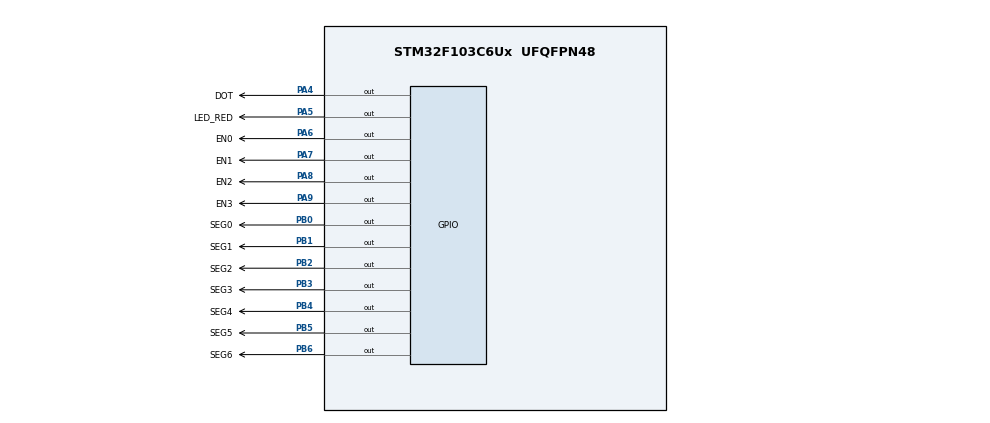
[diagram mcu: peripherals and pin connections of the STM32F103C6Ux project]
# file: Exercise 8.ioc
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Mcu.Family=STM32F1
Mcu.Name=STM32F103C6Ux
Mcu.Package=UFQFPN48
NVIC.PriorityGroup=NVIC_PRIORITYGROUP_4
NVIC.TIM2_IRQn=true\:0\:0\:false\:false\:true\:true\:true
PA4.GPIO_Label=DOT
PA4.Signal=GPIO_Output
PA5.GPIO_Label=LED_RED
PA5.Signal=GPIO_Output
PA6.GPIO_Label=EN0
PA6.Signal=GPIO_Output
PA7.GPIO_Label=EN1
PA7.Signal=GPIO_Output
PA8.GPIO_Label=EN2
PA8.Signal=GPIO_Output
PA9.GPIO_Label=EN3
PA9.Signal=GPIO_Output
PB0.GPIO_Label=SEG0
PB0.Signal=GPIO_Output
PB1.GPIO_Label=SEG1
PB1.Signal=GPIO_Output
PB2.GPIO_Label=SEG2
PB2.Signal=GPIO_Output
PB3.GPIO_Label=SEG3
PB3.Signal=GPIO_Output
PB4.GPIO_Label=SEG4
PB4.Signal=GPIO_Output
PB5.GPIO_Label=SEG5
PB5.Signal=GPIO_Output
PB6.GPIO_Label=SEG6
PB6.Signal=GPIO_Output
ProjectManager.HeapSize=0x200
ProjectManager.StackSize=0x400
ProjectManager.TargetToolchain=STM32CubeIDE
RCC.APB1Freq_Value=8000000
RCC.APB2Freq_Value=8000000
TIM2.Period=9
TIM2.Prescaler=7999
VP_SYS_VS_ND.Mode=No_Debug
VP_TIM2_VS_ClockSourceINT.Mode=Internal
board=custom

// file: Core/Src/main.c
/* USER CODE BEGIN Header */
/**
  ******************************************************************************
  * @file           : main.c
  * @brief          : Main program body
  ******************************************************************************
  * @attention
  *
  * <h2><center>&copy; Copyright (c) 2022 STMicroelectronics.
  * All rights reserved.</center></h2>
  *
  * This software component is licensed by ST under BSD 3-Clause license,
  * the "License"; You may not use this file except in compliance with the
  * License. You may obtain a copy of the License at:
  *                        opensource.org/licenses/BSD-3-Clause
  *
  ******************************************************************************
  */
/* USER CODE END Header */
#include "main.h"

TIM_HandleTypeDef htim2;

void SystemClock_Config(void);
static void MX_GPIO_Init(void);
static void MX_TIM2_Init(void);

/* USER CODE BEGIN 0 */

//software timer
int timer0_counter = 0;
int timer0_flag = 0;

int timer1_counter = 0;
int timer1_flag = 0;
int TIMER_CYCLE = 10;

void setTimer0(int duration){
	timer0_counter = duration / TIMER_CYCLE;
	timer0_flag = 0;
}

void setTimer1(int duration){
	timer1_counter = duration / TIMER_CYCLE;
	timer1_flag = 0;
}

void timer_run(){
	if(timer0_counter > 0){
		timer0_counter--;
		if(timer0_counter == 0) timer0_flag = 1;
	}

	if(timer1_counter > 0){
			timer1_counter--;
			if(timer1_counter == 0) timer1_flag = 1;
	}
}

//display7SEG function
void display7SEG(int num)
{
	if (num == 0)
	{
		HAL_GPIO_WritePin (GPIOB, SEG0_Pin|SEG1_Pin|SEG2_Pin|SEG3_Pin|SEG4_Pin|SEG5_Pin, GPIO_PIN_RESET);
		HAL_GPIO_WritePin (GPIOB, SEG6_Pin, GPIO_PIN_SET);
	}
	else if (num == 1)
	{
		HAL_GPIO_WritePin (GPIOB, SEG1_Pin|SEG2_Pin, GPIO_PIN_RESET);
		HAL_GPIO_WritePin (GPIOB, SEG0_Pin|SEG3_Pin|SEG4_Pin|SEG5_Pin|SEG6_Pin, GPIO_PIN_SET);
	}
	else if (num == 2)
	{
		HAL_GPIO_WritePin (GPIOB, SEG0_Pin|SEG1_Pin|SEG3_Pin|SEG4_Pin|SEG6_Pin, GPIO_PIN_RESET);
		HAL_GPIO_WritePin (GPIOB, SEG2_Pin|SEG5_Pin, GPIO_PIN_SET);
	}
	else if (num == 3)
	{
		HAL_GPIO_WritePin (GPIOB, SEG0_Pin|SEG1_Pin|SEG2_Pin|SEG3_Pin|SEG6_Pin, GPIO_PIN_RESET);
		HAL_GPIO_WritePin (GPIOB, SEG4_Pin|SEG5_Pin, GPIO_PIN_SET);
	}
	else if (num == 4)
	{
		HAL_GPIO_WritePin (GPIOB, SEG1_Pin|SEG2_Pin|SEG5_Pin|SEG6_Pin, GPIO_PIN_RESET);
		HAL_GPIO_WritePin (GPIOB, SEG0_Pin|SEG3_Pin|SEG4_Pin, GPIO_PIN_SET);
	}
	else if (num == 5)
	{
		HAL_GPIO_WritePin (GPIOB, SEG0_Pin|SEG2_Pin|SEG3_Pin|SEG5_Pin|SEG6_Pin, GPIO_PIN_RESET);
		HAL_GPIO_WritePin (GPIOB, SEG1_Pin|SEG4_Pin, GPIO_PIN_SET);
	}
	else if (num == 6)
	{
		HAL_GPIO_WritePin (GPIOB, SEG0_Pin|SEG2_Pin|SEG3_Pin|SEG4_Pin|SEG5_Pin|SEG6_Pin, GPIO_PIN_RESET);
		HAL_GPIO_WritePin (GPIOB, SEG1_Pin, GPIO_PIN_SET);
	}
	else if (num == 7)
	{
		HAL_GPIO_WritePin (GPIOB, SEG0_Pin|SEG1_Pin|SEG2_Pin, GPIO_PIN_RESET);
		HAL_GPIO_WritePin (GPIOB, SEG3_Pin|SEG4_Pin|SEG5_Pin|SEG6_Pin, GPIO_PIN_SET);
	}
	else if (num == 8)
	{
		HAL_GPIO_WritePin (GPIOB, SEG0_Pin|SEG1_Pin|SEG2_Pin|SEG3_Pin|SEG4_Pin|SEG5_Pin|SEG6_Pin, GPIO_PIN_RESET);
	}
	else
	{
		HAL_GPIO_WritePin (GPIOB, SEG0_Pin|SEG1_Pin|SEG2_Pin|SEG3_Pin|SEG5_Pin|SEG6_Pin, GPIO_PIN_RESET);
		HAL_GPIO_WritePin (GPIOB, SEG4_Pin, GPIO_PIN_SET);
	}
}

const int MAX_LED = 4;
int index_led = 0;
int led_buffer[4] = {1, 2, 3, 4};

void update7SEG(int index){
	switch (index){
	case 0:
		//Display the first 7SEG with led_buffer[0]
		display7SEG(led_buffer[index]);
		HAL_GPIO_WritePin(EN0_GPIO_Port, EN0_Pin, RESET);
		HAL_GPIO_WritePin(EN1_GPIO_Port, EN1_Pin, SET);
		HAL_GPIO_WritePin(EN1_GPIO_Port, EN2_Pin, SET);
		HAL_GPIO_WritePin(EN1_GPIO_Port, EN3_Pin, SET);
		index_led = 1;
		break;

	case 1:
		//Display the first 7SEG with led_buffer[1]
		display7SEG(led_buffer[index]);
		HAL_GPIO_WritePin(EN0_GPIO_Port, EN0_Pin, SET);
		HAL_GPIO_WritePin(EN1_GPIO_Port, EN1_Pin, RESET);
		HAL_GPIO_WritePin(EN1_GPIO_Port, EN2_Pin, SET);
		HAL_GPIO_WritePin(EN1_GPIO_Port, EN3_Pin, SET);
		index_led = 2;
		break;

	case 2:
		//Display the first 7SEG with led_buffer[2]
		display7SEG(led_buffer[index]);
		HAL_GPIO_WritePin(EN0_GPIO_Port, EN0_Pin, SET);
		HAL_GPIO_WritePin(EN1_GPIO_Port, EN1_Pin, SET);
		HAL_GPIO_WritePin(EN1_GPIO_Port, EN2_Pin, RESET);
		HAL_GPIO_WritePin(EN1_GPIO_Port, EN3_Pin, SET);
		index_led = 3;
		break;

	case 3:
		//Display the first 7SEG with led_buffer[3]
		display7SEG(led_buffer[index]);
		HAL_GPIO_WritePin(EN0_GPIO_Port, EN0_Pin, SET);
		HAL_GPIO_WritePin(EN1_GPIO_Port, EN1_Pin, SET);
		HAL_GPIO_WritePin(EN1_GPIO_Port, EN2_Pin, SET);
		HAL_GPIO_WritePin(EN1_GPIO_Port, EN3_Pin, RESET);
		index_led = 0;
		break;

	default:
		break;
	}
}

//updateClockBuffer function
int hour = 15, minute = 8, second = 50;
void updateClockBuffer(){

	//Hiển thị hàng đơn vị của giờ
	led_buffer[1] = hour % 10;

	//Hiển thị hàng chục của giờ
	if (hour < 10){
		led_buffer[0] = 0;
	}
	else {
		led_buffer[0] = hour / 10;
	}

	//Hiển thị hàng đơn vị của phút
	led_buffer[3] = minute % 10;

	//Hiển thị hàng chục của phút
	if (minute < 10){
		led_buffer[2] = 0;
	}
	else{
		led_buffer[2] = minute / 10;
	}
}

/* USER CODE END 0 */

int main(void)
{

  /* MCU Configuration--------------------------------------------------------*/

  /* Reset of all peripherals, Initializes the Flash interface and the Systick. */
  HAL_Init();

  /* Configure the system clock */
  SystemClock_Config();

  /* Initialize all configured peripherals */
  MX_GPIO_Init();
  MX_TIM2_Init();
  /* USER CODE BEGIN 2 */
  HAL_TIM_Base_Start_IT(&htim2);
  setTimer0(1000);
  setTimer1(500);
  /* USER CODE END 2 */

  /* Infinite loop */
  /* USER CODE BEGIN WHILE */
  while (1)
  {
	  if(timer0_flag == 1){
		  second++;

		  if (second >= 60) // 1 minute = 60s
		  {
		  	  second = 0;
		  	  minute++;

		  	  if (minute >= 60) // 1 hour = 60p
		  	  {
		  		  minute = 0;
		  		  hour++;
		  		  if (hour >= 12) {hour = 0;}//start new a cycle
		  	  }
		  }

		  updateClockBuffer();
		  HAL_GPIO_TogglePin(DOT_GPIO_Port, DOT_Pin);
		  setTimer0(1000);

	  }

	  if(timer1_flag == 1){
	  	update7SEG(index_led);
	  	setTimer1(500);
	  }
    /* USER CODE END WHILE */

  }
}

void SystemClock_Config(void)
{
  RCC_OscInitTypeDef RCC_OscInitStruct = {0};
  RCC_ClkInitTypeDef RCC_ClkInitStruct = {0};

  /** Initializes the RCC Oscillators according to the specified parameters
  * in the RCC_OscInitTypeDef structure.
  */
  RCC_OscInitStruct.OscillatorType = RCC_OSCILLATORTYPE_HSI;
  RCC_OscInitStruct.HSIState = RCC_HSI_ON;
  RCC_OscInitStruct.HSICalibrationValue = RCC_HSICALIBRATION_DEFAULT;
  RCC_OscInitStruct.PLL.PLLState = RCC_PLL_NONE;
  if (HAL_RCC_OscConfig(&RCC_OscInitStruct) != HAL_OK)
  {
    Error_Handler();
  }
  /** Initializes the CPU, AHB and APB buses clocks
  */
  RCC_ClkInitStruct.ClockType = RCC_CLOCKTYPE_HCLK|RCC_CLOCKTYPE_SYSCLK
                              |RCC_CLOCKTYPE_PCLK1|RCC_CLOCKTYPE_PCLK2;
  RCC_ClkInitStruct.SYSCLKSource = RCC_SYSCLKSOURCE_HSI;
  RCC_ClkInitStruct.AHBCLKDivider = RCC_SYSCLK_DIV1;
  RCC_ClkInitStruct.APB1CLKDivider = RCC_HCLK_DIV1;
  RCC_ClkInitStruct.APB2CLKDivider = RCC_HCLK_DIV1;

  if (HAL_RCC_ClockConfig(&RCC_ClkInitStruct, FLASH_LATENCY_0) != HAL_OK)
  {
    Error_Handler();
  }
}

static void MX_TIM2_Init(void)
{

  TIM_ClockConfigTypeDef sClockSourceConfig = {0};
  TIM_MasterConfigTypeDef sMasterConfig = {0};

  htim2.Instance = TIM2;
  htim2.Init.Prescaler = 7999;
  htim2.Init.CounterMode = TIM_COUNTERMODE_UP;
  htim2.Init.Period = 9;
  htim2.Init.ClockDivision = TIM_CLOCKDIVISION_DIV1;
  htim2.Init.AutoReloadPreload = TIM_AUTORELOAD_PRELOAD_DISABLE;
  if (HAL_TIM_Base_Init(&htim2) != HAL_OK)
  {
    Error_Handler();
  }
  sClockSourceConfig.ClockSource = TIM_CLOCKSOURCE_INTERNAL;
  if (HAL_TIM_ConfigClockSource(&htim2, &sClockSourceConfig) != HAL_OK)
  {
    Error_Handler();
  }
  sMasterConfig.MasterOutputTrigger = TIM_TRGO_RESET;
  sMasterConfig.MasterSlaveMode = TIM_MASTERSLAVEMODE_DISABLE;
  if (HAL_TIMEx_MasterConfigSynchronization(&htim2, &sMasterConfig) != HAL_OK)
  {
    Error_Handler();
  }

}

static void MX_GPIO_Init(void)
{
  GPIO_InitTypeDef GPIO_InitStruct = {0};

  /* GPIO Ports Clock Enable */
  __HAL_RCC_GPIOA_CLK_ENABLE();
  __HAL_RCC_GPIOB_CLK_ENABLE();

  /*Configure GPIO pin Output Level */
  HAL_GPIO_WritePin(GPIOA, DOT_Pin|LED_RED_Pin|EN0_Pin|EN1_Pin
                          |EN2_Pin|EN3_Pin, GPIO_PIN_RESET);

  /*Configure GPIO pin Output Level */
  HAL_GPIO_WritePin(GPIOB, SEG0_Pin|SEG1_Pin|SEG2_Pin|SEG3_Pin
                          |SEG4_Pin|SEG5_Pin|SEG6_Pin, GPIO_PIN_RESET);

  /*Configure GPIO pins : DOT_Pin LED_RED_Pin EN0_Pin EN1_Pin
                           EN2_Pin EN3_Pin */
  GPIO_InitStruct.Pin = DOT_Pin|LED_RED_Pin|EN0_Pin|EN1_Pin
                          |EN2_Pin|EN3_Pin;
  GPIO_InitStruct.Mode = GPIO_MODE_OUTPUT_PP;
  GPIO_InitStruct.Pull = GPIO_NOPULL;
  GPIO_InitStruct.Speed = GPIO_SPEED_FREQ_LOW;
  HAL_GPIO_Init(GPIOA, &GPIO_InitStruct);

  /*Configure GPIO pins : SEG0_Pin SEG1_Pin SEG2_Pin SEG3_Pin
                           SEG4_Pin SEG5_Pin SEG6_Pin */
  GPIO_InitStruct.Pin = SEG0_Pin|SEG1_Pin|SEG2_Pin|SEG3_Pin
                          |SEG4_Pin|SEG5_Pin|SEG6_Pin;
  GPIO_InitStruct.Mode = GPIO_MODE_OUTPUT_PP;
  GPIO_InitStruct.Pull = GPIO_NOPULL;
  GPIO_InitStruct.Speed = GPIO_SPEED_FREQ_LOW;
  HAL_GPIO_Init(GPIOB, &GPIO_InitStruct);

}

/* USER CODE BEGIN 4 */

void HAL_TIM_PeriodElapsedCallback(TIM_HandleTypeDef *htim){

	timer_run();
}

/* USER CODE END 4 */

void Error_Handler(void)
{
  __disable_irq();
  while (1)
  {
  }
}

/************************ (C) COPYRIGHT STMicroelectronics *****END OF FILE****/
